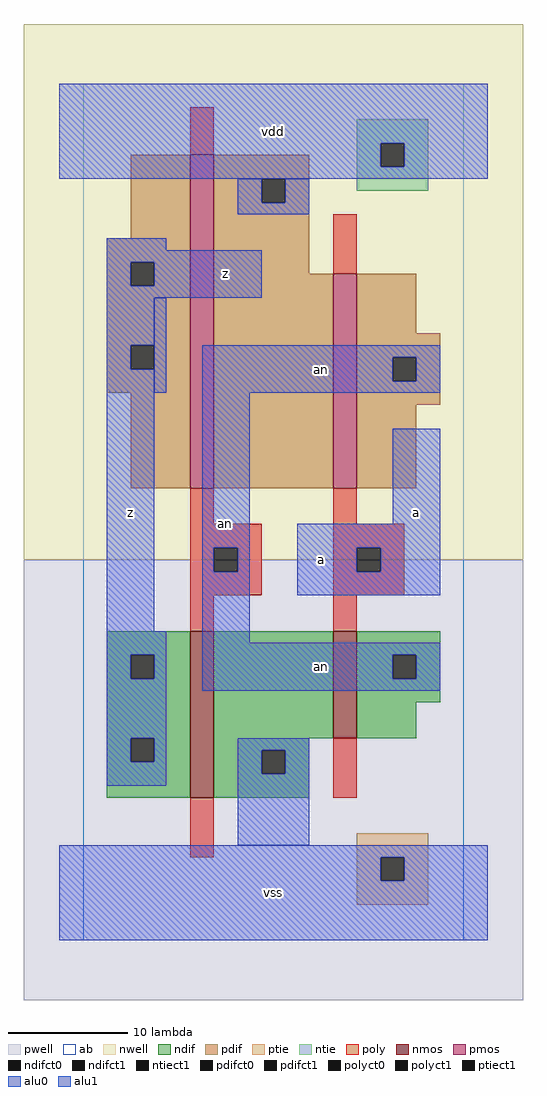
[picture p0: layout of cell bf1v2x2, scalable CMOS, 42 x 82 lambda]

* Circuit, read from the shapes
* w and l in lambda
.subckt bf1v2x2 a an vdd vss z
M1 vss an z vss nfet w=14 l=2
M2 an a vss vss nfet w=9 l=2
M3 vdd an z vdd pfet w=28 l=2
M4 an a vdd vdd pfet w=18 l=2
.ends

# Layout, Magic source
magic
tech scmos
<< ab >>
rect 0 0 32 72
<< nwell >>
rect -5 32 37 77
<< pwell >>
rect -5 -5 37 32
<< poly >>
rect 9 66 11 70
rect 21 56 23 61
rect 9 35 11 38
rect 21 35 23 38
rect 9 33 15 35
rect 9 31 11 33
rect 13 31 15 33
rect 9 29 15 31
rect 21 33 27 35
rect 21 31 23 33
rect 25 31 27 33
rect 21 29 27 31
rect 9 26 11 29
rect 21 26 23 29
rect 21 12 23 17
rect 9 7 11 12
<< ndif >>
rect 2 24 9 26
rect 2 22 4 24
rect 6 22 9 24
rect 2 17 9 22
rect 2 15 4 17
rect 6 15 9 17
rect 2 12 9 15
rect 11 17 21 26
rect 23 24 30 26
rect 23 22 26 24
rect 28 22 30 24
rect 23 20 30 22
rect 23 17 28 20
rect 11 16 19 17
rect 11 14 15 16
rect 17 14 19 16
rect 11 12 19 14
<< pdif >>
rect 4 59 9 66
rect 2 57 9 59
rect 2 55 4 57
rect 6 55 9 57
rect 2 50 9 55
rect 2 48 4 50
rect 6 48 9 50
rect 2 46 9 48
rect 4 38 9 46
rect 11 64 19 66
rect 11 62 15 64
rect 17 62 19 64
rect 11 56 19 62
rect 11 38 21 56
rect 23 51 28 56
rect 23 49 30 51
rect 23 47 26 49
rect 28 47 30 49
rect 23 45 30 47
rect 23 38 28 45
<< alu1 >>
rect -2 67 34 72
rect -2 65 25 67
rect 27 65 34 67
rect -2 64 34 65
rect 2 58 7 59
rect 2 57 15 58
rect 2 55 4 57
rect 6 55 15 57
rect 2 54 15 55
rect 2 50 6 54
rect 2 48 4 50
rect 2 26 6 48
rect 26 35 30 43
rect 2 24 7 26
rect 2 22 4 24
rect 6 22 7 24
rect 2 17 7 22
rect 18 33 30 35
rect 18 31 23 33
rect 25 31 30 33
rect 18 29 30 31
rect 2 15 4 17
rect 6 15 7 17
rect 2 13 7 15
rect -2 7 34 8
rect -2 5 25 7
rect 27 5 34 7
rect -2 0 34 5
<< ptie >>
rect 23 7 29 9
rect 23 5 25 7
rect 27 5 29 7
rect 23 3 29 5
<< ntie >>
rect 23 67 29 69
rect 23 65 25 67
rect 27 65 29 67
rect 23 63 29 65
<< nmos >>
rect 9 12 11 26
rect 21 17 23 26
<< pmos >>
rect 9 38 11 66
rect 21 38 23 56
<< polyct0 >>
rect 11 31 13 33
<< polyct1 >>
rect 23 31 25 33
<< ndifct0 >>
rect 26 22 28 24
rect 15 14 17 16
<< ndifct1 >>
rect 4 22 6 24
rect 4 15 6 17
<< ntiect1 >>
rect 25 65 27 67
<< ptiect1 >>
rect 25 5 27 7
<< pdifct0 >>
rect 15 62 17 64
rect 26 47 28 49
<< pdifct1 >>
rect 4 55 6 57
rect 4 48 6 50
<< alu0 >>
rect 13 62 15 64
rect 17 62 19 64
rect 13 61 19 62
rect 6 46 7 54
rect 10 49 30 50
rect 10 47 26 49
rect 28 47 30 49
rect 10 46 30 47
rect 10 33 14 46
rect 10 31 11 33
rect 13 31 14 33
rect 10 25 14 31
rect 10 24 30 25
rect 10 22 26 24
rect 28 22 30 24
rect 10 21 30 22
rect 13 16 19 17
rect 13 14 15 16
rect 17 14 19 16
rect 13 8 19 14
<< labels >>
rlabel alu0 12 35 12 35 6 an
rlabel alu0 20 23 20 23 6 an
rlabel alu0 20 48 20 48 6 an
rlabel alu1 4 36 4 36 6 z
rlabel alu1 16 4 16 4 6 vss
rlabel alu1 12 56 12 56 6 z
rlabel alu1 16 68 16 68 6 vdd
rlabel alu1 20 32 20 32 6 a
rlabel alu1 28 36 28 36 6 a
<< end >>
